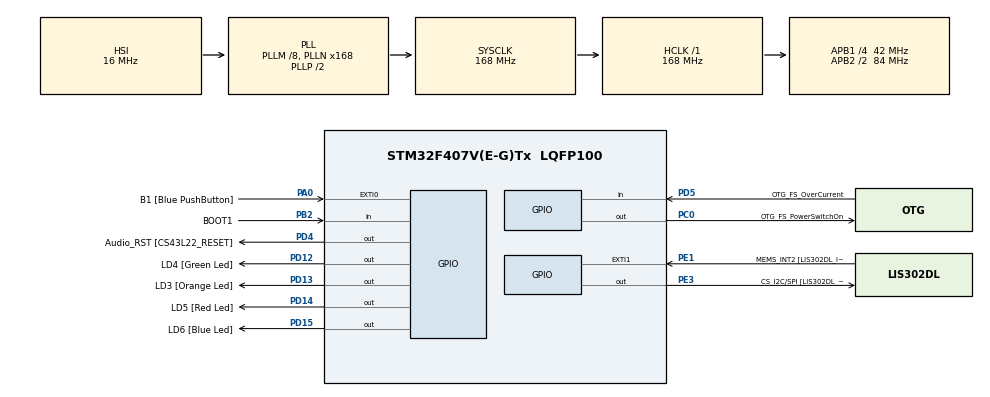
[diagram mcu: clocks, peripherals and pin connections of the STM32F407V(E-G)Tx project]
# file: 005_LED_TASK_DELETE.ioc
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Mcu.Family=STM32F4
Mcu.Name=STM32F407V(E-G)Tx
Mcu.Package=LQFP100
NVIC.PriorityGroup=NVIC_PRIORITYGROUP_4
NVIC.TIM6_DAC_IRQn=true\:15\:0\:false\:false\:true\:false\:true\:true
NVIC.TimeBase=TIM6_DAC_IRQn
NVIC.TimeBaseIP=TIM6
PA0-WKUP.GPIO_Label=B1 [Blue PushButton]
PA0-WKUP.Signal=GPXTI0
PA10.GPIO_Label=OTG_FS_ID
PA10.GPIO_Mode=GPIO_MODE_AF_PP
PA10.GPIO_PuPd=GPIO_NOPULL
PA10.GPIO_Speed=GPIO_SPEED_FREQ_LOW
PA10.Signal=USB_OTG_FS_ID
PA11.GPIO_Label=OTG_FS_DM
PA11.GPIO_Mode=GPIO_MODE_AF_PP
PA11.GPIO_PuPd=GPIO_NOPULL
PA11.GPIO_Speed=GPIO_SPEED_FREQ_LOW
PA11.Signal=USB_OTG_FS_DM
PA12.GPIO_Label=OTG_FS_DP
PA12.GPIO_Mode=GPIO_MODE_AF_PP
PA12.GPIO_PuPd=GPIO_NOPULL
PA12.GPIO_Speed=GPIO_SPEED_FREQ_LOW
PA12.Signal=USB_OTG_FS_DP
PA13.GPIO_Label=SWDIO
PA13.Signal=SYS_JTMS-SWDIO
PA14.GPIO_Label=SWCLK
PA14.Signal=SYS_JTCK-SWCLK
PA4.GPIO_Label=I2S3_WS [CS43L22_LRCK]
PA4.GPIO_Mode=GPIO_MODE_AF_PP
PA4.GPIO_PuPd=GPIO_NOPULL
PA4.GPIO_Speed=GPIO_SPEED_FREQ_LOW
PA4.Signal=I2S3_WS
PA5.GPIO_Label=SPI1_SCK [LIS302DL_SCL/SPC]
PA5.GPIO_Mode=GPIO_MODE_AF_PP
PA5.GPIO_PuPd=GPIO_NOPULL
PA5.GPIO_Speed=GPIO_SPEED_FREQ_LOW
PA5.Signal=SPI1_SCK
PA6.GPIO_Label=SPI1_MISO [LIS302DL_SDO]
PA6.GPIO_Mode=GPIO_MODE_AF_PP
PA6.GPIO_PuPd=GPIO_NOPULL
PA6.GPIO_Speed=GPIO_SPEED_FREQ_LOW
PA6.Signal=SPI1_MISO
PA7.GPIO_Label=SPI1_MOSI [LIS302DL_SDA/SDI/SDO]
PA7.GPIO_Mode=GPIO_MODE_AF_PP
PA7.GPIO_PuPd=GPIO_NOPULL
PA7.GPIO_Speed=GPIO_SPEED_FREQ_LOW
PA7.Signal=SPI1_MOSI
PA9.GPIO_Label=VBUS_FS
PA9.GPIO_Mode=GPIO_MODE_INPUT
PA9.GPIO_PuPd=GPIO_NOPULL
PA9.Signal=USB_OTG_FS_VBUS
PB10.GPIO_Label=CLK_IN [MP45DT02_CLK]
PB10.GPIO_Mode=GPIO_MODE_AF_PP
PB10.GPIO_PuPd=GPIO_NOPULL
PB10.GPIO_Speed=GPIO_SPEED_FREQ_LOW
PB10.Signal=I2S2_CK
PB2.GPIO_Label=BOOT1
PB2.GPIO_Mode=GPIO_MODE_INPUT
PB2.GPIO_PuPd=GPIO_NOPULL
PB2.Signal=GPIO_Input
PB3.GPIO_Label=SWO
PB3.Signal=SYS_JTDO-SWO
PB6.GPIO_Label=Audio_SCL [CS43L22_SCL]
PB6.GPIO_Mode=GPIO_MODE_AF_OD
PB6.GPIO_PuPd=GPIO_NOPULL
PB6.GPIO_Speed=GPIO_SPEED_FREQ_LOW
PB6.Signal=I2C1_SCL
PB9.GPIO_Label=Audio_SDA [CS43L22_SDA]
PB9.GPIO_Mode=GPIO_MODE_AF_OD
PB9.GPIO_PuPd=GPIO_NOPULL
PB9.GPIO_Speed=GPIO_SPEED_FREQ_LOW
PB9.Signal=I2C1_SDA
PC0.GPIO_Label=OTG_FS_PowerSwitchOn
PC0.GPIO_PuPd=GPIO_NOPULL
PC0.GPIO_Speed=GPIO_SPEED_FREQ_LOW
PC0.PinState=GPIO_PIN_SET
PC0.Signal=GPIO_Output
PC10.GPIO_Label=I2S3_SCK [CS43L22_SCLK]
PC10.GPIO_Mode=GPIO_MODE_AF_PP
PC10.GPIO_PuPd=GPIO_NOPULL
PC10.GPIO_Speed=GPIO_SPEED_FREQ_LOW
PC10.Signal=I2S3_CK
PC12.GPIO_Label=I2S3_SD [CS43L22_SDIN]
PC12.GPIO_Mode=GPIO_MODE_AF_PP
PC12.GPIO_PuPd=GPIO_NOPULL
PC12.GPIO_Speed=GPIO_SPEED_FREQ_LOW
PC12.Signal=I2S3_SD
PC14-OSC32_IN.GPIO_Label=PC14-OSC32_IN
PC14-OSC32_IN.Signal=RCC_OSC32_IN
PC15-OSC32_OUT.GPIO_Label=PC15-OSC32_OUT
PC15-OSC32_OUT.Signal=RCC_OSC32_OUT
PC3.GPIO_Label=PDM_OUT [MP45DT02_DOUT]
PC3.GPIO_Mode=GPIO_MODE_AF_PP
PC3.GPIO_PuPd=GPIO_NOPULL
PC3.GPIO_Speed=GPIO_SPEED_FREQ_LOW
PC3.Signal=I2S2_SD
PC7.GPIO_Label=I2S3_MCK [CS43L22_MCLK]
PC7.GPIO_Mode=GPIO_MODE_AF_PP
PC7.GPIO_PuPd=GPIO_NOPULL
PC7.GPIO_Speed=GPIO_SPEED_FREQ_LOW
PC7.Signal=I2S3_MCK
PD12.GPIO_Label=LD4 [Green Led]
PD12.GPIO_PuPd=GPIO_NOPULL
PD12.GPIO_Speed=GPIO_SPEED_FREQ_LOW
PD12.Signal=GPIO_Output
PD13.GPIO_Label=LD3 [Orange Led]
PD13.GPIO_PuPd=GPIO_NOPULL
PD13.GPIO_Speed=GPIO_SPEED_FREQ_LOW
PD13.Signal=GPIO_Output
PD14.GPIO_Label=LD5 [Red Led]
PD14.GPIO_PuPd=GPIO_NOPULL
PD14.GPIO_Speed=GPIO_SPEED_FREQ_LOW
PD14.Signal=GPIO_Output
PD15.GPIO_Label=LD6 [Blue Led]
PD15.GPIO_PuPd=GPIO_NOPULL
PD15.GPIO_Speed=GPIO_SPEED_FREQ_LOW
PD15.Signal=GPIO_Output
PD4.GPIO_Label=Audio_RST [CS43L22_RESET]
PD4.GPIO_PuPd=GPIO_NOPULL
PD4.GPIO_Speed=GPIO_SPEED_FREQ_LOW
PD4.Signal=GPIO_Output
PD5.GPIO_Label=OTG_FS_OverCurrent
PD5.GPIO_Mode=GPIO_MODE_INPUT
PD5.GPIO_PuPd=GPIO_NOPULL
PD5.Signal=GPIO_Input
PE1.GPIO_Label=MEMS_INT2 [LIS302DL_INT2]
PE1.GPIO_ModeDefaultEXTI=GPIO_MODE_EVT_RISING
PE1.GPIO_PuPd=GPIO_NOPULL
PE1.Signal=GPXTI1
PE3.GPIO_Label=CS_I2C/SPI [LIS302DL_CS_I2C/SPI]
PE3.GPIO_PuPd=GPIO_NOPULL
PE3.GPIO_Speed=GPIO_SPEED_FREQ_LOW
PE3.Signal=GPIO_Output
PH0-OSC_IN.GPIO_Label=PH0-OSC_IN
PH0-OSC_IN.Signal=RCC_OSC_IN
PH1-OSC_OUT.GPIO_Label=PH1-OSC_OUT
PH1-OSC_OUT.Signal=RCC_OSC_OUT
ProjectManager.HeapSize=0x200
ProjectManager.StackSize=0x400
ProjectManager.TargetToolchain=STM32CubeIDE
RCC.48MHZClocksFreq_Value=48000000
RCC.AHBFreq_Value=168000000
RCC.APB1CLKDivider=RCC_HCLK_DIV4
RCC.APB1Freq_Value=42000000
RCC.APB1TimFreq_Value=84000000
RCC.APB2CLKDivider=RCC_HCLK_DIV2
RCC.APB2Freq_Value=84000000
RCC.APB2TimFreq_Value=168000000
RCC.CortexFreq_Value=168000000
RCC.HCLKFreq_Value=168000000
RCC.HSE_VALUE=8000000
RCC.HSI_VALUE=16000000
RCC.LSE_VALUE=32768
RCC.PLLM=8
RCC.PLLN=168
RCC.PLLQ=7
RCC.SYSCLKFreq_VALUE=168000000
RCC.SYSCLKSource=RCC_SYSCLKSOURCE_PLLCLK
RCC.VCOOutputFreq_Value=336000000
VP_SYS_VS_tim6.Mode=TIM6
board=STM32F407G-DISC1

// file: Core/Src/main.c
/* USER CODE BEGIN Header */
/**
  ******************************************************************************
  * @file           : main.c
  * @brief          : Main program body
  ******************************************************************************
  * @attention
  *
  * <h2><center>&copy; Copyright (c) 2021 STMicroelectronics.
  * All rights reserved.</center></h2>
  *
  * This software component is licensed by ST under BSD 3-Clause license,
  * the "License"; You may not use this file except in compliance with the
  * License. You may obtain a copy of the License at:
  *                        opensource.org/licenses/BSD-3-Clause
  *
  ******************************************************************************
  */
/* USER CODE END Header */

#include "main.h"

/* USER CODE BEGIN Includes */

#include "FreeRTOS.h"
#include "task.h"

/* USER CODE END Includes */

/* USER CODE BEGIN PV */

#define DWT_CTRL    (*(volatile uint32_t*)0xE0001000)

/* USER CODE END PV */

void SystemClock_Config(void);
static void MX_GPIO_Init(void);
/* USER CODE BEGIN PFP */

static void led_green_handler(void* parameters);
static void led_orange_handler(void* parameters);
static void led_red_handler(void* parameters);
static void led_blue_handler(void* parameters);
static void button_handler(void* parameters);

TaskHandle_t ledg_task_handle;
TaskHandle_t ledo_task_handle;
TaskHandle_t ledr_task_handle;
TaskHandle_t ledb_task_handle;
TaskHandle_t btn_task_handle;

TaskHandle_t volatile next_task_handle = NULL;

/* USER CODE END PFP */

int main(void)
{
  /* USER CODE BEGIN 1 */

	BaseType_t status;

  /* USER CODE END 1 */

  /* MCU Configuration--------------------------------------------------------*/

  /* Reset of all peripherals, Initializes the Flash interface and the Systick. */

	HAL_Init();

  /* Configure the system clock */
  SystemClock_Config();

  /* Initialize all configured peripherals */
  MX_GPIO_Init();
  /* USER CODE BEGIN 2 */

  //CYCLCNT enable
  DWT_CTRL |= ( 1 << 0);

  SEGGER_SYSVIEW_Conf();
  SEGGER_SYSVIEW_Start();

  status = xTaskCreate(led_green_handler, "LED_green_task", 200, NULL, 3, &ledg_task_handle);

  configASSERT(status == pdPASS);

  next_task_handle = ledg_task_handle;

  status = xTaskCreate(led_orange_handler, "LED_orange_task", 200, NULL, 2, &ledo_task_handle);

   configASSERT(status == pdPASS);

  status = xTaskCreate(led_red_handler, "LED_red_task", 200,NULL, 1, &ledr_task_handle);

  configASSERT(status == pdPASS);
  status = xTaskCreate(led_blue_handler, "LED_blue_task", 200,NULL, 4, &ledb_task_handle);

    configASSERT(status == pdPASS);

  status = xTaskCreate(button_handler, "Button Task", 200, NULL, 5, &btn_task_handle);

  configASSERT(status == pdPASS);

  //start the freeRTOS scheduler
  vTaskStartScheduler();

  /* USER CODE END 2 */

  /* Infinite loop */
  while (1)
  {

  }
}

void SystemClock_Config(void)
{
  RCC_OscInitTypeDef RCC_OscInitStruct = {0};
  RCC_ClkInitTypeDef RCC_ClkInitStruct = {0};

  /** Configure the main internal regulator output voltage
  */
  __HAL_RCC_PWR_CLK_ENABLE();
  __HAL_PWR_VOLTAGESCALING_CONFIG(PWR_REGULATOR_VOLTAGE_SCALE1);
  /** Initializes the CPU, AHB and APB busses clocks
  */
  RCC_OscInitStruct.OscillatorType = RCC_OSCILLATORTYPE_HSI;
  RCC_OscInitStruct.HSIState = RCC_HSI_ON;
  RCC_OscInitStruct.HSICalibrationValue = RCC_HSICALIBRATION_DEFAULT;
  RCC_OscInitStruct.PLL.PLLState = RCC_PLL_ON;
  RCC_OscInitStruct.PLL.PLLSource = RCC_PLLSOURCE_HSI;
  RCC_OscInitStruct.PLL.PLLM = 8;
  RCC_OscInitStruct.PLL.PLLN = 168;
  RCC_OscInitStruct.PLL.PLLP = RCC_PLLP_DIV2;
  RCC_OscInitStruct.PLL.PLLQ = 7;
  if (HAL_RCC_OscConfig(&RCC_OscInitStruct) != HAL_OK)
  {
    Error_Handler();
  }
  /** Initializes the CPU, AHB and APB busses clocks
  */
  RCC_ClkInitStruct.ClockType = RCC_CLOCKTYPE_HCLK|RCC_CLOCKTYPE_SYSCLK
                              |RCC_CLOCKTYPE_PCLK1|RCC_CLOCKTYPE_PCLK2;
  RCC_ClkInitStruct.SYSCLKSource = RCC_SYSCLKSOURCE_PLLCLK;
  RCC_ClkInitStruct.AHBCLKDivider = RCC_SYSCLK_DIV1;
  RCC_ClkInitStruct.APB1CLKDivider = RCC_HCLK_DIV4;
  RCC_ClkInitStruct.APB2CLKDivider = RCC_HCLK_DIV2;

  if (HAL_RCC_ClockConfig(&RCC_ClkInitStruct, FLASH_LATENCY_5) != HAL_OK)
  {
    Error_Handler();
  }
}

static void MX_GPIO_Init(void)
{
  GPIO_InitTypeDef GPIO_InitStruct = {0};

  /* GPIO Ports Clock Enable */
  __HAL_RCC_GPIOE_CLK_ENABLE();
  __HAL_RCC_GPIOC_CLK_ENABLE();
  __HAL_RCC_GPIOH_CLK_ENABLE();
  __HAL_RCC_GPIOA_CLK_ENABLE();
  __HAL_RCC_GPIOB_CLK_ENABLE();
  __HAL_RCC_GPIOD_CLK_ENABLE();

  /*Configure GPIO pin Output Level */
  HAL_GPIO_WritePin(CS_I2C_SPI_GPIO_Port, CS_I2C_SPI_Pin, GPIO_PIN_RESET);

  /*Configure GPIO pin Output Level */
  HAL_GPIO_WritePin(OTG_FS_PowerSwitchOn_GPIO_Port, OTG_FS_PowerSwitchOn_Pin, GPIO_PIN_SET);

  /*Configure GPIO pin Output Level */
  HAL_GPIO_WritePin(GPIOD, LD4_Pin|LD3_Pin|LD5_Pin|LD6_Pin
                          |Audio_RST_Pin, GPIO_PIN_RESET);

  /*Configure GPIO pin : CS_I2C_SPI_Pin */
  GPIO_InitStruct.Pin = CS_I2C_SPI_Pin;
  GPIO_InitStruct.Mode = GPIO_MODE_OUTPUT_PP;
  GPIO_InitStruct.Pull = GPIO_NOPULL;
  GPIO_InitStruct.Speed = GPIO_SPEED_FREQ_LOW;
  HAL_GPIO_Init(CS_I2C_SPI_GPIO_Port, &GPIO_InitStruct);

  /*Configure GPIO pin : OTG_FS_PowerSwitchOn_Pin */
  GPIO_InitStruct.Pin = OTG_FS_PowerSwitchOn_Pin;
  GPIO_InitStruct.Mode = GPIO_MODE_OUTPUT_PP;
  GPIO_InitStruct.Pull = GPIO_NOPULL;
  GPIO_InitStruct.Speed = GPIO_SPEED_FREQ_LOW;
  HAL_GPIO_Init(OTG_FS_PowerSwitchOn_GPIO_Port, &GPIO_InitStruct);

  /*Configure GPIO pin : PDM_OUT_Pin */
  GPIO_InitStruct.Pin = PDM_OUT_Pin;
  GPIO_InitStruct.Mode = GPIO_MODE_AF_PP;
  GPIO_InitStruct.Pull = GPIO_NOPULL;
  GPIO_InitStruct.Speed = GPIO_SPEED_FREQ_LOW;
  GPIO_InitStruct.Alternate = GPIO_AF5_SPI2;
  HAL_GPIO_Init(PDM_OUT_GPIO_Port, &GPIO_InitStruct);

  /*Configure GPIO pin : B1_Pin */
  GPIO_InitStruct.Pin = B1_Pin;
  GPIO_InitStruct.Mode = GPIO_MODE_IT_FALLING;
  GPIO_InitStruct.Pull = GPIO_NOPULL;
  HAL_GPIO_Init(B1_GPIO_Port, &GPIO_InitStruct);

  /*Configure GPIO pin : I2S3_WS_Pin */
  GPIO_InitStruct.Pin = I2S3_WS_Pin;
  GPIO_InitStruct.Mode = GPIO_MODE_AF_PP;
  GPIO_InitStruct.Pull = GPIO_NOPULL;
  GPIO_InitStruct.Speed = GPIO_SPEED_FREQ_LOW;
  GPIO_InitStruct.Alternate = GPIO_AF6_SPI3;
  HAL_GPIO_Init(I2S3_WS_GPIO_Port, &GPIO_InitStruct);

  /*Configure GPIO pins : SPI1_SCK_Pin SPI1_MISO_Pin SPI1_MOSI_Pin */
  GPIO_InitStruct.Pin = SPI1_SCK_Pin|SPI1_MISO_Pin|SPI1_MOSI_Pin;
  GPIO_InitStruct.Mode = GPIO_MODE_AF_PP;
  GPIO_InitStruct.Pull = GPIO_NOPULL;
  GPIO_InitStruct.Speed = GPIO_SPEED_FREQ_LOW;
  GPIO_InitStruct.Alternate = GPIO_AF5_SPI1;
  HAL_GPIO_Init(GPIOA, &GPIO_InitStruct);

  /*Configure GPIO pin : BOOT1_Pin */
  GPIO_InitStruct.Pin = BOOT1_Pin;
  GPIO_InitStruct.Mode = GPIO_MODE_INPUT;
  GPIO_InitStruct.Pull = GPIO_NOPULL;
  HAL_GPIO_Init(BOOT1_GPIO_Port, &GPIO_InitStruct);

  /*Configure GPIO pin : CLK_IN_Pin */
  GPIO_InitStruct.Pin = CLK_IN_Pin;
  GPIO_InitStruct.Mode = GPIO_MODE_AF_PP;
  GPIO_InitStruct.Pull = GPIO_NOPULL;
  GPIO_InitStruct.Speed = GPIO_SPEED_FREQ_LOW;
  GPIO_InitStruct.Alternate = GPIO_AF5_SPI2;
  HAL_GPIO_Init(CLK_IN_GPIO_Port, &GPIO_InitStruct);

  /*Configure GPIO pins : LD4_Pin LD3_Pin LD5_Pin LD6_Pin
                           Audio_RST_Pin */
  GPIO_InitStruct.Pin = LD4_Pin|LD3_Pin|LD5_Pin|LD6_Pin
                          |Audio_RST_Pin;
  GPIO_InitStruct.Mode = GPIO_MODE_OUTPUT_PP;
  GPIO_InitStruct.Pull = GPIO_NOPULL;
  GPIO_InitStruct.Speed = GPIO_SPEED_FREQ_LOW;
  HAL_GPIO_Init(GPIOD, &GPIO_InitStruct);

  /*Configure GPIO pins : I2S3_MCK_Pin I2S3_SCK_Pin I2S3_SD_Pin */
  GPIO_InitStruct.Pin = I2S3_MCK_Pin|I2S3_SCK_Pin|I2S3_SD_Pin;
  GPIO_InitStruct.Mode = GPIO_MODE_AF_PP;
  GPIO_InitStruct.Pull = GPIO_NOPULL;
  GPIO_InitStruct.Speed = GPIO_SPEED_FREQ_LOW;
  GPIO_InitStruct.Alternate = GPIO_AF6_SPI3;
  HAL_GPIO_Init(GPIOC, &GPIO_InitStruct);

  /*Configure GPIO pin : VBUS_FS_Pin */
  GPIO_InitStruct.Pin = VBUS_FS_Pin;
  GPIO_InitStruct.Mode = GPIO_MODE_INPUT;
  GPIO_InitStruct.Pull = GPIO_NOPULL;
  HAL_GPIO_Init(VBUS_FS_GPIO_Port, &GPIO_InitStruct);

  /*Configure GPIO pins : OTG_FS_ID_Pin OTG_FS_DM_Pin OTG_FS_DP_Pin */
  GPIO_InitStruct.Pin = OTG_FS_ID_Pin|OTG_FS_DM_Pin|OTG_FS_DP_Pin;
  GPIO_InitStruct.Mode = GPIO_MODE_AF_PP;
  GPIO_InitStruct.Pull = GPIO_NOPULL;
  GPIO_InitStruct.Speed = GPIO_SPEED_FREQ_LOW;
  GPIO_InitStruct.Alternate = GPIO_AF10_OTG_FS;
  HAL_GPIO_Init(GPIOA, &GPIO_InitStruct);

  /*Configure GPIO pin : OTG_FS_OverCurrent_Pin */
  GPIO_InitStruct.Pin = OTG_FS_OverCurrent_Pin;
  GPIO_InitStruct.Mode = GPIO_MODE_INPUT;
  GPIO_InitStruct.Pull = GPIO_NOPULL;
  HAL_GPIO_Init(OTG_FS_OverCurrent_GPIO_Port, &GPIO_InitStruct);

  /*Configure GPIO pins : Audio_SCL_Pin Audio_SDA_Pin */
  GPIO_InitStruct.Pin = Audio_SCL_Pin|Audio_SDA_Pin;
  GPIO_InitStruct.Mode = GPIO_MODE_AF_OD;
  GPIO_InitStruct.Pull = GPIO_PULLUP;
  GPIO_InitStruct.Speed = GPIO_SPEED_FREQ_LOW;
  GPIO_InitStruct.Alternate = GPIO_AF4_I2C1;
  HAL_GPIO_Init(GPIOB, &GPIO_InitStruct);

  /*Configure GPIO pin : MEMS_INT2_Pin */
  GPIO_InitStruct.Pin = MEMS_INT2_Pin;
  GPIO_InitStruct.Mode = GPIO_MODE_EVT_RISING;
  GPIO_InitStruct.Pull = GPIO_NOPULL;
  HAL_GPIO_Init(MEMS_INT2_GPIO_Port, &GPIO_InitStruct);

}

/* USER CODE BEGIN 4 */

static void led_green_handler(void* parameters)
{
	BaseType_t  status;
	while(1)
	{
		SEGGER_SYSVIEW_PrintfTarget("Toggling green LED");
		HAL_GPIO_TogglePin(GPIOD, LED_GREEN_PIN);
		status = xTaskNotifyWait(0,0,NULL,pdMS_TO_TICKS(1000));
		if(status == pdTRUE){
			vTaskSuspendAll();
			next_task_handle = ledo_task_handle;
			xTaskResumeAll();
			HAL_GPIO_WritePin(GPIOD, LED_GREEN_PIN,GPIO_PIN_SET);
			SEGGER_SYSVIEW_PrintfTarget("Delete green LED task");
			vTaskDelete(NULL);
		}

	}
}

static void led_orange_handler(void* parameters)
{
	BaseType_t  status;

	while(1)
	{
		SEGGER_SYSVIEW_PrintfTarget("Toggling orange LED");
		HAL_GPIO_TogglePin(GPIOD, LED_ORANGE_PIN );
		status = xTaskNotifyWait(0,0,NULL,pdMS_TO_TICKS(750));
		if(status == pdTRUE){
			vTaskSuspendAll();
			next_task_handle = ledr_task_handle;
			xTaskResumeAll();
			HAL_GPIO_WritePin(GPIOD, LED_ORANGE_PIN,GPIO_PIN_SET);
			SEGGER_SYSVIEW_PrintfTarget("Delete orange LED task");
			vTaskDelete(NULL);
		}

	}
}

static void led_red_handler(void* parameters)
{
	BaseType_t  status;

	while(1)
	{
		SEGGER_SYSVIEW_PrintfTarget("Toggling red LED");
		HAL_GPIO_TogglePin(GPIOD, LED_RED_PIN);
		status = xTaskNotifyWait(0,0,NULL,pdMS_TO_TICKS(500));
		if(status == pdTRUE){
			vTaskSuspendAll();
			next_task_handle = ledb_task_handle;
			xTaskResumeAll();
			HAL_GPIO_WritePin(GPIOD, LED_RED_PIN,GPIO_PIN_SET);
			SEGGER_SYSVIEW_PrintfTarget("Delete red LED task");
			vTaskDelete(NULL);
		}

	}

}

static void led_blue_handler(void* parameters)
{
	BaseType_t  status;

	while(1)
	{
		SEGGER_SYSVIEW_PrintfTarget("Toggling blue LED");
		HAL_GPIO_TogglePin(GPIOD, LED_BLUE_PIN);
		status = xTaskNotifyWait(0,0,NULL,pdMS_TO_TICKS(250));
		if(status == pdTRUE){
			vTaskSuspendAll();
			next_task_handle = NULL;
			xTaskResumeAll();
			HAL_GPIO_WritePin(GPIOD, LED_BLUE_PIN,GPIO_PIN_SET);
			SEGGER_SYSVIEW_PrintfTarget("Delete blue LED task");
			vTaskDelete(btn_task_handle);
			vTaskDelete(NULL);
		}

	}

}

static void button_handler(void* parameters)
{
	uint8_t btn_read = 0;
	uint8_t prev_read = 0;

	while(1){

		btn_read = HAL_GPIO_ReadPin(GPIOA, GPIO_PIN_0);

		if(btn_read)
		{
			if(! prev_read)
				xTaskNotify(next_task_handle,0,eNoAction);
		}
		prev_read = btn_read;
		vTaskDelay(pdMS_TO_TICKS(10));

	}

}
/* USER CODE END 4 */

void HAL_TIM_PeriodElapsedCallback(TIM_HandleTypeDef *htim)
{
  if (htim->Instance == TIM6) {
    HAL_IncTick();
  }
}

void Error_Handler(void)
{
}

/************************ (C) COPYRIGHT STMicroelectronics *****END OF FILE****/
